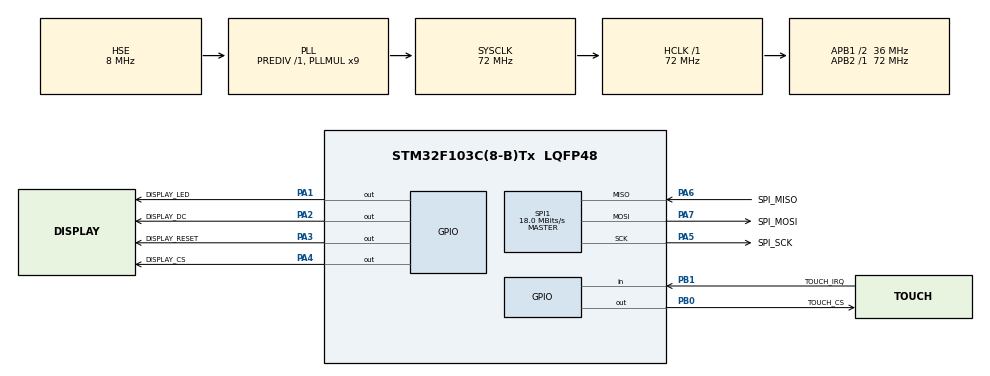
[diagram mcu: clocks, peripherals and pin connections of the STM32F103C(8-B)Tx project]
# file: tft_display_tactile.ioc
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Mcu.Family=STM32F1
RCC.PLLSourceVirtual=RCC_PLLSOURCE_HSE
PA6.Mode=Full_Duplex_Master
PA7.Mode=Full_Duplex_Master
PD1-OSC_OUT.Mode=HSE-External-Oscillator
SPI1.VirtualType=VM_MASTER
PA6.GPIO_Label=SPI_MISO
PB0.GPIO_Label=TOUCH_CS
NVIC.TIM1_UP_IRQn=true\:0\:0\:false\:false\:true\:false\:true
PD0-OSC_IN.Signal=RCC_OSC_IN
RCC.APB1CLKDivider=RCC_HCLK_DIV2
RCC.SYSCLKSource=RCC_SYSCLKSOURCE_PLLCLK
ProjectManager.StackSize=0x400
PD1-OSC_OUT.Signal=RCC_OSC_OUT
PA13.Signal=SYS_JTMS-SWDIO
ProjectManager.TargetToolchain=STM32CubeIDE
SPI1.Direction=SPI_DIRECTION_2LINES
RCC.HCLKFreq_Value=72000000
RCC.APB2TimFreq_Value=72000000
SPI1.CalculateBaudRate=18.0 MBits/s
RCC.USBFreq_Value=72000000
PA1.Signal=GPIO_Output
RCC.AHBFreq_Value=72000000
PD0-OSC_IN.Mode=HSE-External-Oscillator
PA5.Signal=SPI1_SCK
board=custom
RCC.PLLMUL=RCC_PLL_MUL9
RCC.APB2Freq_Value=72000000
SPI1.Mode=SPI_MODE_MASTER
PA14.Mode=Serial_Wire
VP_SYS_VS_tim1.Mode=TIM1
PB1.GPIO_Label=TOUCH_IRQ
PA1.GPIO_Label=DISPLAY_LED
PA13.Mode=Serial_Wire
Mcu.Name=STM32F103C(8-B)Tx
PA2.Signal=GPIO_Output
PA4.Signal=GPIO_Output
RCC.SYSCLKFreq_VALUE=72000000
Mcu.Package=LQFP48
PB1.Signal=GPIO_Input
PA6.Signal=SPI1_MISO
PA7.GPIO_Label=SPI_MOSI
NVIC.TimeBase=TIM1_UP_IRQn
PA5.GPIO_Label=SPI_SCK
PA2.GPIO_Label=DISPLAY_DC
NVIC.TimeBaseIP=TIM1
PA14.Signal=SYS_JTCK-SWCLK
ProjectManager.HeapSize=0x200
NVIC.PriorityGroup=NVIC_PRIORITYGROUP_4
RCC.APB1TimFreq_Value=72000000
RCC.APB1Freq_Value=36000000
SPI1.BaudRatePrescaler=SPI_BAUDRATEPRESCALER_4
PB0.Signal=GPIO_Output
PA4.GPIO_Label=DISPLAY_CS
PA3.GPIO_Label=DISPLAY_RESET
PA3.Signal=GPIO_Output
PA5.Mode=Full_Duplex_Master
PA7.Signal=SPI1_MOSI

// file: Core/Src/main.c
/* USER CODE BEGIN Header */
/*
 * The following code was made to control a 240x320 TFT screen which uses the ILI9341 controller for the display,
 * and the XPT2046 controller for the touch screen.
 */
/* USER CODE END Header */
#include "main.h"

/* USER CODE BEGIN Includes */
#include <stdio.h>
#include "tft_display.h"
#include "tft_touch.h"
#include "tft_fonts.h"
#include "FreeRTOS.h"
#include "task.h"
#include "semphr.h"
#include "queue.h"
/* USER CODE END Includes */

SPI_HandleTypeDef hspi1;

void SystemClock_Config(void);
static void MX_GPIO_Init(void);
static void MX_SPI1_Init(void);

/* USER CODE BEGIN 0 */
SemaphoreHandle_t mutex;
QueueHandle_t queue;

#define MAIN_COLOR			COLOR_YELLOW
#define BACKGROUND_COLOR	COLOR_BLACK

static void Display(void *pvParameters){

	TFT_TOUCH_COORDS coords;
	coords.x = 0;
	coords.y = 0;

	char value_x[] = "000";
	char value_y[] = "000";

	xSemaphoreTake(mutex, portMAX_DELAY);

	TFT_Display_FillScreen(BACKGROUND_COLOR);
	TFT_Display_DrawRectangle(MAIN_COLOR,5, 5, TFT_Display_WIDTH-6, TFT_Display_HEIGHT-6);

	TFT_Display_WriteString(100, 50, "X =", Font_16x26, MAIN_COLOR, BACKGROUND_COLOR);
	TFT_Display_WriteString(100, 120, "Y =", Font_16x26, MAIN_COLOR, BACKGROUND_COLOR);
	TFT_Display_WriteString(70, 200, "Touch the screen", Font_11x18, MAIN_COLOR, BACKGROUND_COLOR);

	xSemaphoreGive(mutex);

	while(1){

		// Get the pressed coordinates from the queue, after timeout reset the coordinates
		if ( xQueueReceive(queue,&coords,100) != pdPASS ){
			coords.x = 0;
			coords.y = 0;
		}

		// Formatting
		if(coords.x < 10){
			sprintf(value_x, "00%i", coords.x);
		}
		else{
			if(coords.x < 100){
				sprintf(value_x, "0%i", coords.x);
			}
			else{
				sprintf(value_x, "%i", coords.x);
			}
		}

		if(coords.y < 10){
			sprintf(value_y, "00%i", coords.y);
		}
		else{
			if(coords.y < 100){
				sprintf(value_y, "0%i", coords.y);
			}
			else{
				sprintf(value_y, "%i", coords.y);
			}
		}

		xSemaphoreTake(mutex, portMAX_DELAY);

		TFT_Display_WriteString(160, 50, value_x, Font_16x26, MAIN_COLOR, BACKGROUND_COLOR);
		TFT_Display_WriteString(160, 120, value_y, Font_16x26, MAIN_COLOR, BACKGROUND_COLOR);

		xSemaphoreGive(mutex);
	}
}

static void Touch(void *pvParameters){

	TFT_TOUCH_COORDS coords;
	coords.x = 0;
	coords.y = 0;

	while(1){

		if( TFT_Touch_ScreenPressed() ){

			xSemaphoreTake(mutex, portMAX_DELAY);

			// Reduce SPI speed to give time to the touch controller (only necessary if using same SPI for both touch and display controllers)
			while(HAL_SPI_DeInit(&TFT_TOUCH_SPI_PORT) != HAL_OK);
			TFT_TOUCH_SPI_PORT.Init.BaudRatePrescaler = SPI_BAUDRATEPRESCALER_128; // 562K bits/s
			while(HAL_SPI_Init(&TFT_TOUCH_SPI_PORT) != HAL_OK);

			// Get pressed coordinates
			TFT_Touch_GetCoordinates(&coords.y, &coords.x);

			// Revert SPI speed value for appropriate communication with the display controller
			while(HAL_SPI_DeInit(&TFT_TOUCH_SPI_PORT) != HAL_OK);
			TFT_TOUCH_SPI_PORT.Init.BaudRatePrescaler = SPI_BAUDRATEPRESCALER_4; // 18M bits/s
			while(HAL_SPI_Init(&TFT_TOUCH_SPI_PORT) != HAL_OK);

			xSemaphoreGive(mutex);

			xQueueSendToBack(queue,&coords,portMAX_DELAY);

			vTaskDelay(100/portTICK_PERIOD_MS);
		}

	}
}
/* USER CODE END 0 */

int main(void)
{

  /* MCU Configuration--------------------------------------------------------*/

  /* Reset of all peripherals, Initializes the Flash interface and the Systick. */
  HAL_Init();

  /* Configure the system clock */
  SystemClock_Config();

  /* Initialize all configured peripherals */
  MX_GPIO_Init();
  MX_SPI1_Init();
  /* USER CODE BEGIN 2 */

  TFT_Touch_Unselect();
  TFT_Display_Unselect();
  TFT_Display_Init();

  mutex = xSemaphoreCreateMutex();
  queue = xQueueCreate(1,sizeof(TFT_TOUCH_COORDS));

  xTaskCreate(Display,
		  	  	(char *) "",
         		configMINIMAL_STACK_SIZE,
				NULL,
				(tskIDLE_PRIORITY + 1UL),
         		NULL);

  xTaskCreate(Touch,
		  	  	(char *) "",
     	    	configMINIMAL_STACK_SIZE,
				NULL,
				(tskIDLE_PRIORITY + 1UL),
     	    	NULL);

  vTaskStartScheduler();
  /* USER CODE END 2 */

  /* Infinite loop */
  while (1)
  {

  }
}

void SystemClock_Config(void)
{
  RCC_OscInitTypeDef RCC_OscInitStruct = {0};
  RCC_ClkInitTypeDef RCC_ClkInitStruct = {0};

  /** Initializes the RCC Oscillators according to the specified parameters
  * in the RCC_OscInitTypeDef structure.
  */
  RCC_OscInitStruct.OscillatorType = RCC_OSCILLATORTYPE_HSE;
  RCC_OscInitStruct.HSEState = RCC_HSE_ON;
  RCC_OscInitStruct.HSEPredivValue = RCC_HSE_PREDIV_DIV1;
  RCC_OscInitStruct.HSIState = RCC_HSI_ON;
  RCC_OscInitStruct.PLL.PLLState = RCC_PLL_ON;
  RCC_OscInitStruct.PLL.PLLSource = RCC_PLLSOURCE_HSE;
  RCC_OscInitStruct.PLL.PLLMUL = RCC_PLL_MUL9;
  if (HAL_RCC_OscConfig(&RCC_OscInitStruct) != HAL_OK)
  {
    Error_Handler();
  }
  /** Initializes the CPU, AHB and APB buses clocks
  */
  RCC_ClkInitStruct.ClockType = RCC_CLOCKTYPE_HCLK|RCC_CLOCKTYPE_SYSCLK
                              |RCC_CLOCKTYPE_PCLK1|RCC_CLOCKTYPE_PCLK2;
  RCC_ClkInitStruct.SYSCLKSource = RCC_SYSCLKSOURCE_PLLCLK;
  RCC_ClkInitStruct.AHBCLKDivider = RCC_SYSCLK_DIV1;
  RCC_ClkInitStruct.APB1CLKDivider = RCC_HCLK_DIV2;
  RCC_ClkInitStruct.APB2CLKDivider = RCC_HCLK_DIV1;

  if (HAL_RCC_ClockConfig(&RCC_ClkInitStruct, FLASH_LATENCY_2) != HAL_OK)
  {
    Error_Handler();
  }
}

static void MX_SPI1_Init(void)
{

  /* SPI1 parameter configuration*/
  hspi1.Instance = SPI1;
  hspi1.Init.Mode = SPI_MODE_MASTER;
  hspi1.Init.Direction = SPI_DIRECTION_2LINES;
  hspi1.Init.DataSize = SPI_DATASIZE_8BIT;
  hspi1.Init.CLKPolarity = SPI_POLARITY_LOW;
  hspi1.Init.CLKPhase = SPI_PHASE_1EDGE;
  hspi1.Init.NSS = SPI_NSS_SOFT;
  hspi1.Init.BaudRatePrescaler = SPI_BAUDRATEPRESCALER_4;
  hspi1.Init.FirstBit = SPI_FIRSTBIT_MSB;
  hspi1.Init.TIMode = SPI_TIMODE_DISABLE;
  hspi1.Init.CRCCalculation = SPI_CRCCALCULATION_DISABLE;
  hspi1.Init.CRCPolynomial = 10;
  if (HAL_SPI_Init(&hspi1) != HAL_OK)
  {
    Error_Handler();
  }

}

static void MX_GPIO_Init(void)
{
  GPIO_InitTypeDef GPIO_InitStruct = {0};

  /* GPIO Ports Clock Enable */
  __HAL_RCC_GPIOD_CLK_ENABLE();
  __HAL_RCC_GPIOA_CLK_ENABLE();
  __HAL_RCC_GPIOB_CLK_ENABLE();

  /*Configure GPIO pin Output Level */
  HAL_GPIO_WritePin(GPIOA, DISPLAY_LED_Pin|DISPLAY_DC_Pin|DISPLAY_RESET_Pin|DISPLAY_CS_Pin, GPIO_PIN_RESET);

  /*Configure GPIO pin Output Level */
  HAL_GPIO_WritePin(TOUCH_CS_GPIO_Port, TOUCH_CS_Pin, GPIO_PIN_RESET);

  /*Configure GPIO pins : DISPLAY_LED_Pin DISPLAY_DC_Pin DISPLAY_RESET_Pin DISPLAY_CS_Pin */
  GPIO_InitStruct.Pin = DISPLAY_LED_Pin|DISPLAY_DC_Pin|DISPLAY_RESET_Pin|DISPLAY_CS_Pin;
  GPIO_InitStruct.Mode = GPIO_MODE_OUTPUT_PP;
  GPIO_InitStruct.Pull = GPIO_NOPULL;
  GPIO_InitStruct.Speed = GPIO_SPEED_FREQ_LOW;
  HAL_GPIO_Init(GPIOA, &GPIO_InitStruct);

  /*Configure GPIO pin : TOUCH_CS_Pin */
  GPIO_InitStruct.Pin = TOUCH_CS_Pin;
  GPIO_InitStruct.Mode = GPIO_MODE_OUTPUT_PP;
  GPIO_InitStruct.Pull = GPIO_NOPULL;
  GPIO_InitStruct.Speed = GPIO_SPEED_FREQ_LOW;
  HAL_GPIO_Init(TOUCH_CS_GPIO_Port, &GPIO_InitStruct);

  /*Configure GPIO pin : TOUCH_IRQ_Pin */
  GPIO_InitStruct.Pin = TOUCH_IRQ_Pin;
  GPIO_InitStruct.Mode = GPIO_MODE_INPUT;
  GPIO_InitStruct.Pull = GPIO_NOPULL;
  HAL_GPIO_Init(TOUCH_IRQ_GPIO_Port, &GPIO_InitStruct);

}

 /**
  * @brief  Period elapsed callback in non blocking mode
  * @note   This function is called  when TIM1 interrupt took place, inside
  * HAL_TIM_IRQHandler(). It makes a direct call to HAL_IncTick() to increment
  * a global variable "uwTick" used as application time base.
  * @param  htim : TIM handle
  * @retval None
  */
void HAL_TIM_PeriodElapsedCallback(TIM_HandleTypeDef *htim)
{
  if (htim->Instance == TIM1) {
    HAL_IncTick();
  }
}

void Error_Handler(void)
{
  __disable_irq();
  while (1)
  {
  }
}

/************************ (C) COPYRIGHT STMicroelectronics *****END OF FILE****/
